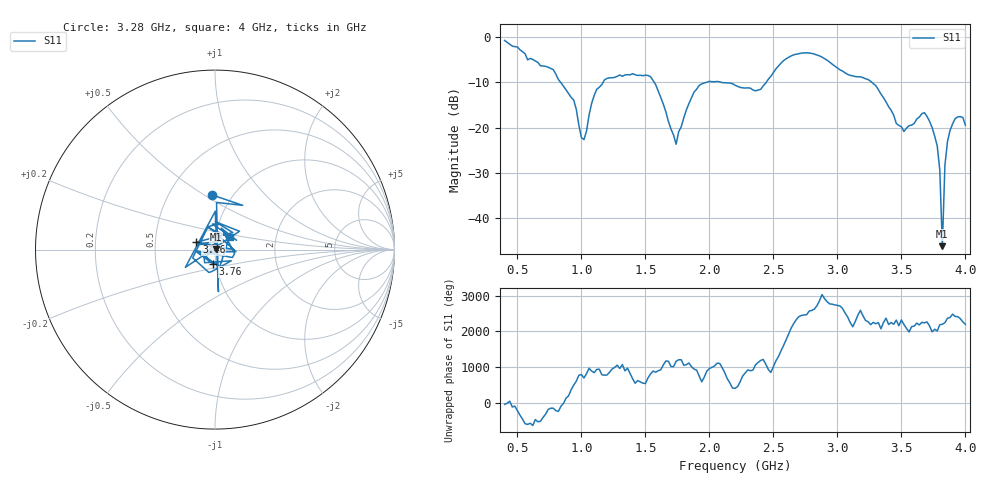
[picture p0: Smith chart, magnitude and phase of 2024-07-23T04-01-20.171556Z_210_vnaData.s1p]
!Created with skrf (http://scikit-rf.org).
# Hz S RI R 50.0
!freq ReS11 ImS11
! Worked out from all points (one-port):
!   181 points, 400 MHz to 4 GHz, reference 50 ohm
!   lowest |S11| = -46.1 dB at 3.82 GHz (marker M1), VSWR 1.01, Z = 50.4 + j0.331 ohm
!   |S11| at or under -10 dB: 1.569 GHz to 1.979 GHz (409.7 MHz wide, 23.1 % of centre); 2.092 GHz to 2.444 GHz (351.6 MHz wide, 15.5 % of centre); 3.269 GHz to end of sweep (the widest 3 of 4)
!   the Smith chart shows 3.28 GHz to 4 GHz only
!   S11 on the Smith chart (normalised r, x): 3.28 GHz: 0.80, +0.54; 3.46 GHz: 0.81, +0.07; 3.76 GHz: 0.97, -0.16; 4 GHz: 1.17, +0.16
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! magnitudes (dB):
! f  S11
! 400 MHz  -0.8
! 780 MHz  -7.2
! 860 MHz  -10.9
! 940 MHz  -13.9
! 1 GHz  -22.2
! 1.02 GHz  -22.6
! 1.12 GHz  -11.5
! 1.3 GHz  -8.4
! 1.54 GHz  -8.8
! 1.74 GHz  -23.7
! 1.76 GHz  -20.9
! 1.92 GHz  -10.7
! 2.2 GHz  -10.6
! 2.4 GHz  -11.6
! 2.66 GHz  -3.9
! 2.86 GHz  -4.2
! 3.1 GHz  -8.5
! 3.28 GHz  -10.3
! 3.46 GHz  -19.1
! 3.56 GHz  -19.6
! 3.68 GHz  -16.7
! 3.76 GHz  -21.9
! 3.8 GHz  -29.3
! 3.82 GHz  -46.1
! 3.84 GHz  -28.3
! 3.86 GHz  -23.1
! 3.92 GHz  -18.0
! 4 GHz  -19.4
